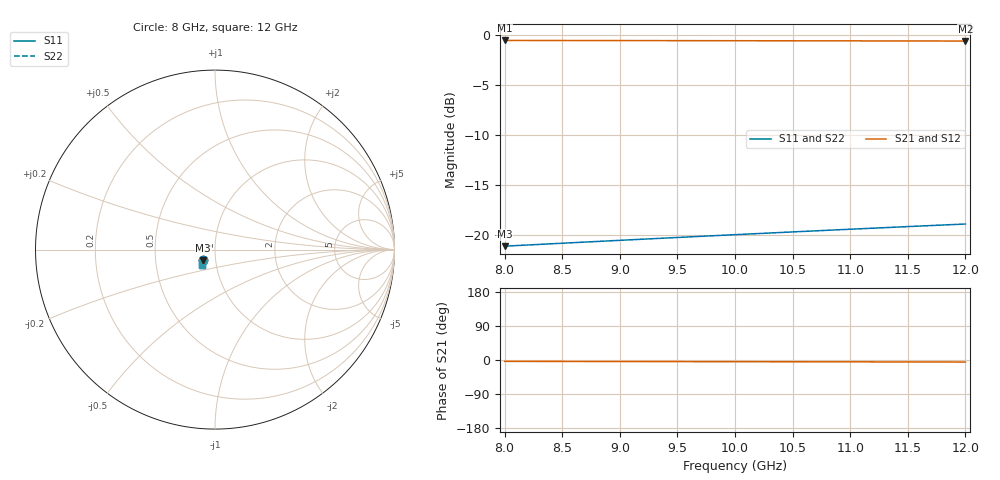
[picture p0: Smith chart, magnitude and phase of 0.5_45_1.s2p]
! Created Wed Oct 21 16:27:20 2020
# ghz S db R 50
! 2 Port Network Data from SP1.SP block
! freq  dbS11  angS11  dbS21  angS21  dbS12  angS12  dbS22  angS22
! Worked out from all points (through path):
!   9 points, 8 GHz to 12 GHz, reference 50 ohm
!   highest |S21| = -0.57 dB at 8 GHz (marker M1); lowest = -0.6 dB at 12 GHz (marker M2)
!   lowest |S11| = -21.1 dB at 8 GHz (marker M3), VSWR 1.19, Z = 43.6 - j5.18 ohm
!   |S11| at or under -10 dB: start of sweep to end of sweep
!   |S22| runs from -21.1 to -18.9 dB; largest |S21 - S12| = 0
8  -21.10 -138.0  -0.57 -3.6  -0.57 -3.6  -21.10 -138.0
8.5  -20.80 -136.7  -0.58 -3.8  -0.58 -3.8  -20.80 -136.7
9  -20.51 -135.6  -0.58 -4.0  -0.58 -4.0  -20.51 -135.6
9.5  -20.23 -134.5  -0.59 -4.3  -0.59 -4.3  -20.23 -134.5
10  -19.95 -133.6  -0.60 -4.5  -0.60 -4.5  -19.95 -133.6
10.5  -19.67 -132.7  -0.60 -4.7  -0.60 -4.7  -19.67 -132.7
11  -19.41 -131.9  -0.61 -4.9  -0.61 -4.9  -19.41 -131.9
11.5  -19.14 -131.2  -0.62 -5.1  -0.62 -5.1  -19.14 -131.2
12  -18.89 -130.5  -0.63 -5.3  -0.63 -5.3  -18.89 -130.5
